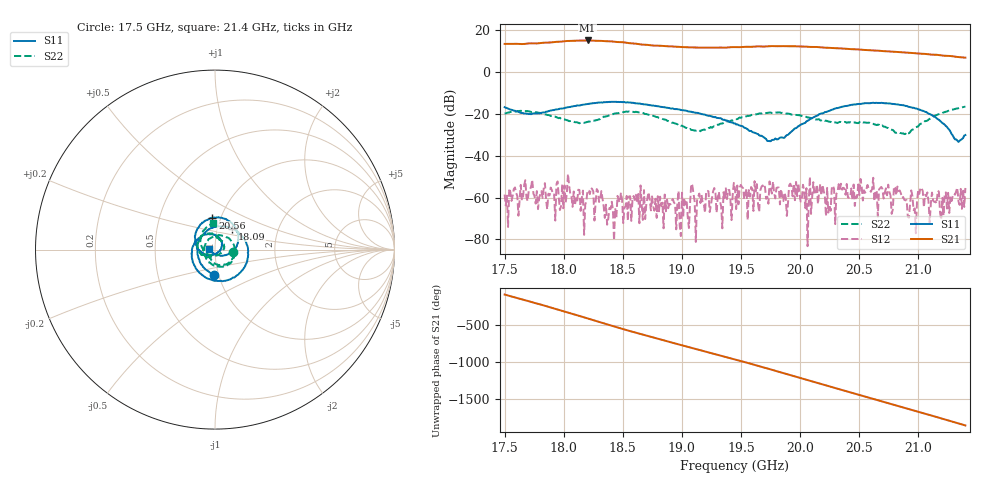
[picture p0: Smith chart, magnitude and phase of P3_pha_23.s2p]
!Created with skrf (http://scikit-rf.org).
# GHz S RI R 50.0
!freq ReS11 ImS11 ReS21 ImS21 ReS12 ImS12 ReS22 ImS22
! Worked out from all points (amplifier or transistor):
!   401 points, 17.5 GHz to 21.4 GHz, reference 50 ohm
!   highest |S21| = 14.9 dB at 18.2 GHz (marker M1)
!   |S21| within 3 dB of that: start of sweep to 18.95 GHz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
!   unconditionally stable (mu >= 1): start of sweep to end of sweep
!   at 18.14 GHz: K = 182.07, MAG = 15.0 dB, |S12| = -66.3 dB
!   at 19.45 GHz: K = 80.52, MAG = 11.8 dB, |S12| = -56.0 dB
!   at 21.4 GHz: K = 133.76, MAG = 6.8 dB, |S12| = -55.5 dB
!   S11 on the Smith chart (normalised r, x): 17.5 GHz: 0.95, -0.28; 18.09 GHz: 1.18, +0.28; 20.56 GHz: 0.91, +0.33; 21.4 GHz: 0.94, +0.00
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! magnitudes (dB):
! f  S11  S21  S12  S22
! 17.5 GHz  -16.9  13.3  -58.6  -19.9
! 18.09 GHz  -16.4  14.8  -63.7  -24.1
! 18.15 GHz  -15.8  14.9  -60.5  -24.3
! 18.2 GHz  -15.4  14.9  -56.5  -23.9
! 18.37 GHz  -14.5  14.5  -73.0  -21.2
! 18.48 GHz  -14.5  14.2  -62.4  -19.5
! 18.81 GHz  -16.5  12.4  -66.6  -22.0
! 18.97 GHz  -18.0  11.9  -56.8  -25.7
! 19.09 GHz  -19.3  11.6  -54.2  -27.8
! 19.14 GHz  -19.7  11.5  -59.6  -28.0
! 19.45 GHz  -24.6  11.7  -56.0  -22.6
! 19.74 GHz  -33.1  12.2  -52.3  -19.5
! 20.08 GHz  -22.7  11.8  -50.1  -21.9
! 20.1 GHz  -22.2  11.8  -59.6  -22.4
! 20.24 GHz  -18.8  11.4  -67.2  -23.7
! 20.35 GHz  -16.9  11.1  -53.4  -24.0
! 20.56 GHz  -15.0  10.3  -56.2  -24.3
! 20.76 GHz  -15.1  9.7  -57.3  -27.4
! 20.97 GHz  -17.4  8.8  -65.2  -27.1
! 21.02 GHz  -18.2  8.6  -55.3  -24.9
! 21.2 GHz  -24.5  7.7  -60.2  -19.7
! 21.4 GHz  -30.2  6.7  -55.5  -16.6
